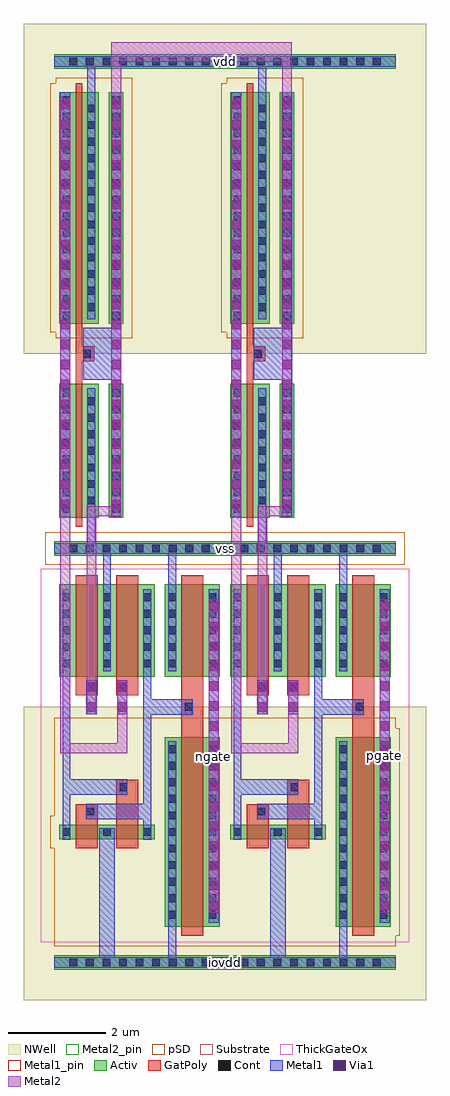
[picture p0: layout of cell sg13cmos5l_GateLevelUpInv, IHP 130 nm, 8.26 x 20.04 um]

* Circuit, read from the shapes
.subckt sg13cmos5l_GateLevelUpInv core iovdd ngate pgate vdd vss
XM1 vss core n1 vss sg13_hv_nmos w=1.9u l=0.45u
XM2 vss core n2 vss sg13_lv_nmos w=2.75u l=0.13u
XM3 n3 n2 vss vss sg13_hv_nmos w=1.9u l=0.45u
XM4 ngate n3 vss vss sg13_hv_nmos w=1.9u l=0.45u
XM5 vss core n4 vss sg13_hv_nmos w=1.9u l=0.45u
XM6 vss core n5 vss sg13_lv_nmos w=2.75u l=0.13u
XM7 n6 n5 vss vss sg13_hv_nmos w=1.9u l=0.45u
XM8 pgate n6 vss vss sg13_hv_nmos w=1.9u l=0.45u
XM9 iovdd n3 n1 iovdd sg13_hv_pmos w=0.3u l=0.45u
XM10 vdd core n2 vdd sg13_lv_pmos w=4.75u l=0.13u
XM11 n3 n1 iovdd iovdd sg13_hv_pmos w=0.3u l=0.45u
XM12 ngate n3 iovdd iovdd sg13_hv_pmos w=3.9u l=0.45u
XM13 iovdd n6 n4 iovdd sg13_hv_pmos w=0.3u l=0.45u
XM14 vdd core n5 vdd sg13_lv_pmos w=4.75u l=0.13u
XM15 n6 n4 iovdd iovdd sg13_hv_pmos w=0.3u l=0.45u
XM16 pgate n6 iovdd iovdd sg13_hv_pmos w=3.9u l=0.45u
.ends

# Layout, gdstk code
import gdstk
lib = gdstk.Library(unit=1e-6, precision=1e-09)
def R(c, l, rs):  # rectangles x0, y0, x1, y1
    for r in rs: c.add(gdstk.rectangle(r[:2], r[2:], *l))
def A(c, l, x, y, w, h, nx, ny, dx, dy):  # array of equal rectangles
    R(c, l, [(x+i*dx, y+j*dy, x+i*dx+w, y+j*dy+h) for i in range(nx) for j in range(ny)])
def P(c, l, *ps):  # polygons
    for p in ps: c.add(gdstk.Polygon(p, *l))
Activ = (1, 0)
GatPoly = (5, 0)
Cont = (6, 0)
Metal1 = (8, 0)
Metal1_pin = (8, 2)
Metal2 = (10, 0)
Metal2_pin = (10, 2)
pSD = (14, 0)
Via1 = (19, 0)
NWell = (31, 0)
Substrate = (40, 0)
ThickGateOx = (44, 0)

sg13cmos5l_levelupinv = lib.new_cell('sg13cmos5l_LevelUpInv')
R(sg13cmos5l_levelupinv, Activ, [(0,-0.15,3.51,0.15), (2.275,0.73,3.405,4.63), (0.105,2.53,2.065,2.83), (0.105,5.87,1.235,7.77), (1.15,5.87,1.85,7.77), (1.765,5.87,2.065,7.77), (2.275,5.87,3.405,7.77), (0,8.35,3.51,8.65), (0.105,9.13,0.915,11.88), (1.125,9.13,1.425,11.88), (0.105,13.12,0.915,17.87), (1.125,13.12,1.425,17.87), (0,18.35,3.51,18.65)])
R(sg13cmos5l_levelupinv, GatPoly, [(2.615,0.55,3.065,7.95), (0.445,2.35,0.895,3.25), (0.445,2.35,0.895,3.01), (1.275,2.35,1.725,3.75), (1.275,3.45,1.575,3.75), (0.445,5.49,0.895,7.95), (0.595,5.49,0.895,5.79), (1.275,5.49,1.575,5.79), (1.275,5.49,1.725,7.95), (0.445,5.69,0.895,7.95), (1.275,5.69,1.725,7.95)])
P(sg13cmos5l_levelupinv, GatPoly, [(0.445,8.95),(0.445,18.05),(0.575,18.05),(0.575,12.65),(0.825,12.65),(0.825,12.35),(0.575,12.35),(0.575,8.95)])
A(sg13cmos5l_levelupinv, Cont, 0.315, -0.08, 0.16, 0.16, 9, 2, 0.34, 8.5)
A(sg13cmos5l_levelupinv, Cont, 2.345, 0.9, 0.16, 0.16, 1, 11, 0, 0.34)
A(sg13cmos5l_levelupinv, Cont, 3.175, 0.9, 0.16, 0.16, 1, 11, 0, 0.34)
A(sg13cmos5l_levelupinv, Cont, 0.175, 2.6, 0.16, 0.16, 3, 2, 0.83, 3.46)
A(sg13cmos5l_levelupinv, Cont, 2.345, 6.06, 0.16, 0.16, 1, 5, 0, 0.34)
A(sg13cmos5l_levelupinv, Cont, 3.175, 6.06, 0.16, 0.16, 1, 5, 0, 0.34)
A(sg13cmos5l_levelupinv, Cont, 0.175, 6.4, 0.16, 0.16, 3, 4, 0.83, 0.34)
A(sg13cmos5l_levelupinv, Cont, 0.175, 9.235, 0.16, 0.16, 1, 8, 0, 0.34)
A(sg13cmos5l_levelupinv, Cont, 1.195, 9.235, 0.16, 0.16, 1, 8, 0, 0.34)
A(sg13cmos5l_levelupinv, Cont, 0.685, 9.405, 0.16, 0.16, 1, 7, 0, 0.34)
A(sg13cmos5l_levelupinv, Cont, 0.175, 13.205, 0.16, 0.16, 1, 14, 0, 0.34)
A(sg13cmos5l_levelupinv, Cont, 1.195, 13.205, 0.16, 0.16, 1, 14, 0, 0.34)
A(sg13cmos5l_levelupinv, Cont, 0.685, 13.375, 0.16, 0.16, 1, 13, 0, 0.34)
A(sg13cmos5l_levelupinv, Cont, 0.315, 18.42, 0.16, 0.16, 9, 1, 0.34, 0)
R(sg13cmos5l_levelupinv, Cont, [(0.665,3.02,0.825,3.18), (1.345,3.52,1.505,3.68), (2.685,5.17,2.845,5.33), (0.665,5.56,0.825,5.72), (1.345,5.56,1.505,5.72), (0.595,12.42,0.755,12.58)])
R(sg13cmos5l_levelupinv, Metal1, [(3.175,0.82,3.385,7.66), (0.665,2.94,0.825,3.26), (1.345,3.44,1.505,3.76), (0.665,5.1,0.875,5.8), (1.295,5.1,1.505,5.8), (0.665,5.48,0.825,5.8), (1.345,5.48,1.505,5.8), (0.125,9.155,0.335,17.865)])
P(sg13cmos5l_levelupinv, Metal1, [(0.685,13.21),(0.685,18.395),(0,18.395),(0,18.605),(3.51,18.605),(3.51,18.395),(0.845,18.395),(0.845,13.21)],
  [(1.005,5.98),(1.005,8.395),(0,8.395),(0,8.605),(0.685,8.605),(0.685,11.79),(0.845,11.79),(0.845,8.605),(3.51,8.605),(3.51,8.395),(2.505,8.395),(2.505,5.98),(2.345,5.98),(2.345,8.395),(1.165,8.395),(1.165,5.98)],
  [(1.17,9.155),(1.17,11.97),(0.595,11.97),(0.595,13.03),(1.17,13.03),(1.17,17.865),(1.38,17.865),(1.38,9.155)],
  [(0.175,2.52),(0.175,7.66),(0.335,7.66),(0.335,3.76),(1.505,3.76),(1.505,3.44),(0.335,3.44),(0.335,2.52)],
  [(0,-0.105),(0,0.105),(0.925,0.105),(0.925,2.76),(1.245,2.76),(1.245,0.105),(2.345,0.105),(2.345,4.54),(2.505,4.54),(2.505,0.105),(3.51,0.105),(3.51,-0.105)],
  [(1.835,2.52),(1.835,2.94),(0.665,2.94),(0.665,3.26),(1.835,3.26),(1.835,7.66),(1.995,7.66),(1.995,5.41),(2.845,5.41),(2.845,5.09),(1.995,5.09),(1.995,2.52)])
R(sg13cmos5l_levelupinv, Metal1_pin, [(0,-0.105,3.51,0.105), (0,8.395,3.51,8.605), (0,18.395,3.51,18.605)])
R(sg13cmos5l_levelupinv, Metal2, [(3.18,1.02,3.38,7.46), (0.67,5.1,0.87,5.8), (1.3,5.1,1.5,5.8), (1.175,9.265,1.375,17.755)])
P(sg13cmos5l_levelupinv, Metal2, [(0.67,5.8),(0.67,9.365),(1.375,9.365),(1.375,9.165),(0.87,9.165),(0.87,5.8)],
  [(0.13,4.3),(0.13,17.755),(0.33,17.755),(0.33,4.5),(1.3,4.5),(1.3,5.1),(1.5,5.1),(1.5,4.3)])
R(sg13cmos5l_levelupinv, Metal2_pin, [(3.18,1.02,3.38,7.46), (1.175,9.265,1.375,17.755)])
R(sg13cmos5l_levelupinv, pSD, [(-0.18,8.17,3.69,8.83)])
P(sg13cmos5l_levelupinv, pSD, [(0,0.33),(0,2.35),(-0.075,2.35),(-0.075,3.01),(0,3.01),(0,5.03),(3.51,5.03),(3.51,4.81),(3.585,4.81),(3.585,0.55),(3.51,0.55),(3.51,0.33)],
  [(0.035,12.82),(0.035,12.94),(-0.075,12.94),(-0.075,18.05),(0.035,18.05),(0.035,18.17),(1.605,18.17),(1.605,12.82)])
A(sg13cmos5l_levelupinv, Via1, 3.185, 1.07, 0.19, 0.19, 1, 16, 0, 0.41)
A(sg13cmos5l_levelupinv, Via1, 0.135, 9.315, 0.19, 0.19, 1, 21, 0, 0.41)
A(sg13cmos5l_levelupinv, Via1, 1.18, 9.315, 0.19, 0.19, 1, 21, 0, 0.41)
R(sg13cmos5l_levelupinv, Via1, [(0.675,5.15,0.865,5.34), (1.305,5.15,1.495,5.34), (0.675,5.56,0.865,5.75), (1.305,5.56,1.495,5.75)])
R(sg13cmos5l_levelupinv, NWell, [(-0.62,-0.77,4.13,5.25), (-0.62,12.5,4.13,19.27)])
R(sg13cmos5l_levelupinv, Substrate, [(0,8.35,3.51,8.65)])
R(sg13cmos5l_levelupinv, ThickGateOx, [(-0.27,0.42,3.78,8.08)])
sg13cmos5l_levelupinv.add(gdstk.Label('sub!', (3.25,8.51), layer=63, texttype=0))
sg13cmos5l_levelupinv.add(gdstk.Label('vdd', (1.755,18.5), layer=8, texttype=25))
sg13cmos5l_levelupinv.add(gdstk.Label('vss', (1.755,8.5), layer=8, texttype=25))
sg13cmos5l_levelupinv.add(gdstk.Label('iovdd', (1.755,0), layer=8, texttype=25))
sg13cmos5l_levelupinv.add(gdstk.Label('i', (1.275,13.51), layer=10, texttype=25))
sg13cmos5l_levelupinv.add(gdstk.Label('o', (3.28,4.24), layer=10, texttype=25))

sg13cmos5l_gatelevelupin = lib.new_cell('sg13cmos5l_GateLevelUpInv')
R(sg13cmos5l_gatelevelupin, Metal1, [(0,-19.605,7.02,-19.395), (0,-11.105,7.02,-10.895), (0,-1.105,7.02,-0.895)])
R(sg13cmos5l_gatelevelupin, Metal1_pin, [(0,-19.605,7.02,-19.395), (0,-11.105,7.02,-10.895), (0,-1.105,7.02,-0.895)])
R(sg13cmos5l_gatelevelupin, Metal2, [(3.18,-18.48,3.38,-12.04), (6.69,-18.48,6.89,-12.04)])
P(sg13cmos5l_gatelevelupin, Metal2, [(1.175,-10.235),(1.175,-0.6),(4.885,-0.6),(4.885,-10.235),(4.685,-10.235),(4.685,-1),(1.375,-1),(1.375,-10.235)])
R(sg13cmos5l_gatelevelupin, Metal2_pin, [(3.18,-18.48,3.38,-12.04), (6.69,-18.48,6.89,-12.04), (1.175,-1,4.885,-0.6)])
sg13cmos5l_gatelevelupin.add(gdstk.Reference(sg13cmos5l_levelupinv, (0,-19.5)))
sg13cmos5l_gatelevelupin.add(gdstk.Reference(sg13cmos5l_levelupinv, (3.51,-19.5)))
sg13cmos5l_gatelevelupin.add(gdstk.Label('vss', (3.51,-11), layer=8, texttype=25))
sg13cmos5l_gatelevelupin.add(gdstk.Label('vdd', (3.51,-1), layer=8, texttype=25))
sg13cmos5l_gatelevelupin.add(gdstk.Label('iovdd', (3.51,-19.5), layer=8, texttype=25))
sg13cmos5l_gatelevelupin.add(gdstk.Label('core', (3.03,-0.8), layer=10, texttype=25))
sg13cmos5l_gatelevelupin.add(gdstk.Label('ngate', (3.28,-15.26), layer=10, texttype=25))
sg13cmos5l_gatelevelupin.add(gdstk.Label('pgate', (6.795,-15.245), layer=10, texttype=25))

lib.write_gds('sg13cmos5l_GateLevelUpInv.gds')
